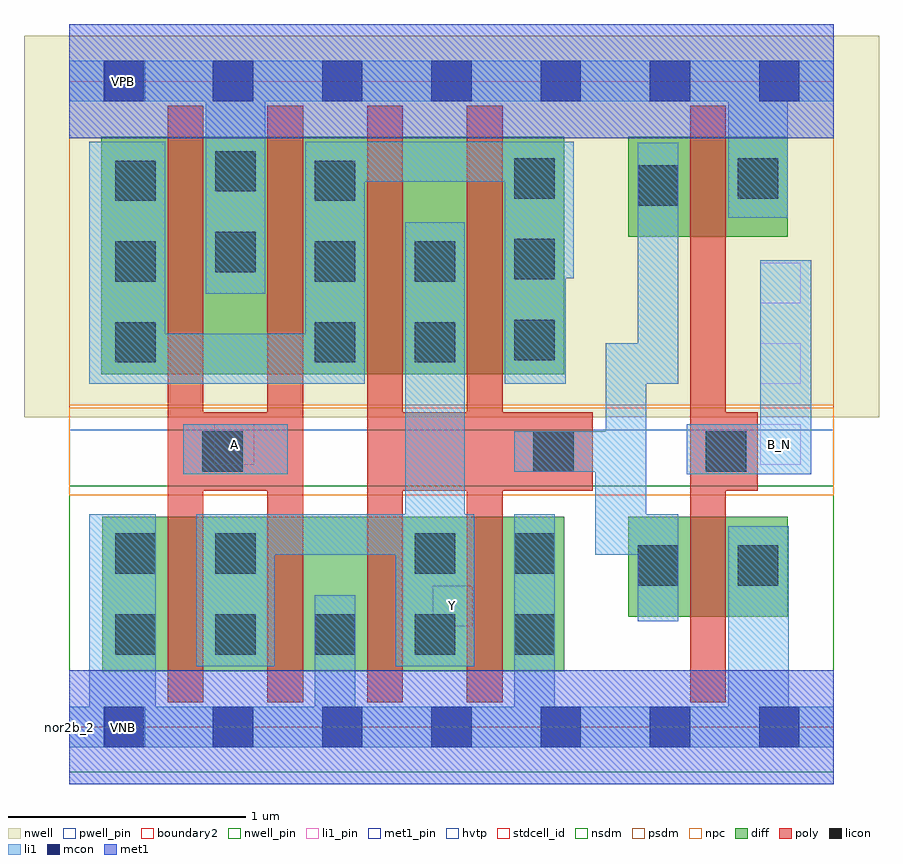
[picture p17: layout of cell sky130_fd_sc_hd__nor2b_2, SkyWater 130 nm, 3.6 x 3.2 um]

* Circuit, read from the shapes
.subckt sky130_fd_sc_hd__nor2b_2 A B_N VGND VNB VPB VPWR Y
XM1 Y A VGND VNB sky130_fd_pr__nfet_01v8 w=0.65 l=0.15 m=2
XM2 Y n1 VGND VNB sky130_fd_pr__nfet_01v8 w=0.65 l=0.15 m=2
XM3 VGND B_N n1 VNB sky130_fd_pr__nfet_01v8 w=0.42 l=0.15
XM4 VPWR A n2 VPB sky130_fd_pr__pfet_01v8_hvt w=1 l=0.15 m=2
XM5 Y n1 n2 VPB sky130_fd_pr__pfet_01v8_hvt w=1 l=0.15 m=2
XM6 VPWR B_N n1 VPB sky130_fd_pr__pfet_01v8_hvt w=0.42 l=0.15
.ends

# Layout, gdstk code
import gdstk
lib = gdstk.Library(unit=1e-6, precision=1e-09)
def R(c, l, rs):  # rectangles x0, y0, x1, y1
    for r in rs: c.add(gdstk.rectangle(r[:2], r[2:], *l))
def A(c, l, x, y, w, h, nx, ny, dx, dy):  # array of equal rectangles
    R(c, l, [(x+i*dx, y+j*dy, x+i*dx+w, y+j*dy+h) for i in range(nx) for j in range(ny)])
def P(c, l, *ps):  # polygons
    for p in ps: c.add(gdstk.Polygon(p, *l))
nwell_pin = (64, 16)
nwell = (64, 20)
diff = (65, 20)
poly = (66, 20)
licon = (66, 44)
li1_pin = (67, 16)
li1 = (67, 20)
mcon = (67, 44)
met1_pin = (68, 16)
met1 = (68, 20)
hvtp = (78, 44)
stdcell_id = (81, 4)
nsdm = (93, 44)
psdm = (94, 20)
npc = (95, 20)
pwell_pin = (122, 16)
boundary2 = (236, 0)

sky130_fd_sc_hd__nor2b_2 = lib.new_cell('sky130_fd_sc_hd__nor2b_2')
R(sky130_fd_sc_hd__nor2b_2, nwell_pin, [(0.15,2.635,0.32,2.805)])
R(sky130_fd_sc_hd__nor2b_2, nwell, [(-0.19,1.305,3.41,2.91)])
R(sky130_fd_sc_hd__nor2b_2, diff, [(0.14,0.235,2.085,0.885), (2.355,0.465,3.025,0.885), (0.135,1.485,2.085,2.485), (2.355,2.065,3.025,2.485)])
P(sky130_fd_sc_hd__nor2b_2, poly, [(2.9,1.325),(2.765,1.325),(2.765,2.615),(2.615,2.615),(2.615,0.105),(2.765,0.105),(2.765,0.995),(2.9,0.995)],
  [(2.205,1.325),(1.825,1.325),(1.825,2.615),(1.675,2.615),(1.675,1.325),(1.405,1.325),(1.405,2.615),(1.255,2.615),(1.255,0.105),(1.405,0.105),(1.405,0.995),(1.675,0.995),(1.675,0.105),(1.825,0.105),(1.825,0.995),(2.205,0.995)],
  [(0.985,2.615),(0.835,2.615),(0.835,1.325),(0.565,1.325),(0.565,2.615),(0.415,2.615),(0.415,0.105),(0.565,0.105),(0.565,0.995),(0.835,0.995),(0.835,0.105),(0.985,0.105)])
A(sky130_fd_sc_hd__nor2b_2, licon, 0.195, 0.305, 0.17, 0.17, 5, 1, 0.42, 0)
A(sky130_fd_sc_hd__nor2b_2, licon, 0.195, 1.535, 0.17, 0.17, 1, 3, 0, 0.34)
A(sky130_fd_sc_hd__nor2b_2, licon, 1.035, 1.535, 0.17, 0.17, 1, 3, 0, 0.34)
A(sky130_fd_sc_hd__nor2b_2, licon, 1.875, 1.545, 0.17, 0.17, 1, 3, 0, 0.34)
R(sky130_fd_sc_hd__nor2b_2, licon, [(2.395,0.595,2.565,0.765), (2.815,0.595,2.985,0.765), (0.195,0.645,0.365,0.815), (0.615,0.645,0.785,0.815), (1.455,0.645,1.625,0.815), (1.875,0.645,2.045,0.815), (0.56,1.075,0.73,1.245), (1.955,1.075,2.125,1.245), (2.68,1.075,2.85,1.245), (1.455,1.535,1.625,1.705), (1.455,1.875,1.625,2.045), (0.615,1.915,0.785,2.085), (2.395,2.195,2.565,2.365), (2.815,2.225,2.985,2.395), (0.615,2.255,0.785,2.425)])
A(sky130_fd_sc_hd__nor2b_2, li1_pin, 2.91, 1.105, 0.17, 0.17, 1, 3, 0, 0.34)
R(sky130_fd_sc_hd__nor2b_2, li1_pin, [(1.53,0.425,1.7,0.595), (0.61,1.105,0.78,1.275)])
R(sky130_fd_sc_hd__nor2b_2, li1, [(0.48,1.065,0.92,1.275)])
P(sky130_fd_sc_hd__nor2b_2, li1, [(2.6,1.065),(2.6,1.275),(2.91,1.275),(2.91,1.965),(3.125,1.965),(3.125,1.065)],
  [(2.565,0.895),(2.43,0.895),(2.43,1.445),(2.565,1.445),(2.565,2.46),(2.395,2.46),(2.395,1.615),(2.26,1.615),(2.26,1.245),(1.875,1.245),(1.875,1.075),(2.215,1.075),(2.215,0.725),(2.395,0.725),(2.395,0.445),(2.565,0.445)],
  [(3.22,2.805),(0,2.805),(0,2.635),(0.575,2.635),(0.575,1.825),(0.825,1.825),(0.825,2.635),(2.775,2.635),(2.775,2.145),(3.025,2.145),(3.025,2.635),(3.22,2.635)],
  [(1.705,0.895),(1.665,0.895),(1.665,2.125),(1.415,2.125),(1.415,0.895),(0.535,0.895),(0.535,0.255),(0.865,0.255),(0.865,0.725),(1.375,0.725),(1.375,0.255),(1.705,0.255)],
  [(3.22,0.085),(3.03,0.085),(3.03,0.845),(2.775,0.845),(2.775,0.085),(2.045,0.085),(2.045,0.895),(1.875,0.895),(1.875,0.085),(1.205,0.085),(1.205,0.555),(1.035,0.555),(1.035,0.085),(0.365,0.085),(0.365,0.895),(0.085,0.895),(0.085,0.085),(0,0.085),(0,-0.085),(3.22,-0.085)],
  [(2.125,2.465),(0.995,2.465),(0.995,1.655),(0.405,1.655),(0.405,2.465),(0.085,2.465),(0.085,1.445),(1.245,1.445),(1.245,2.295),(1.835,2.295),(1.835,1.445),(2.09,1.445),(2.09,1.89),(2.125,1.89)])
A(sky130_fd_sc_hd__nor2b_2, mcon, 0.145, -0.085, 0.17, 0.17, 7, 2, 0.46, 2.72)
R(sky130_fd_sc_hd__nor2b_2, met1_pin, [(0.15,-0.085,0.32,0.085), (0.15,2.635,0.32,2.805)])
R(sky130_fd_sc_hd__nor2b_2, hvtp, [(0,1.25,3.22,2.72)])
R(sky130_fd_sc_hd__nor2b_2, stdcell_id, [(0,0,3.22,2.72)])
R(sky130_fd_sc_hd__nor2b_2, nsdm, [(0,-0.19,3.22,1.015)])
R(sky130_fd_sc_hd__nor2b_2, psdm, [(0,1.355,3.22,2.91)])
R(sky130_fd_sc_hd__nor2b_2, npc, [(0,0.975,3.22,1.345)])
R(sky130_fd_sc_hd__nor2b_2, pwell_pin, [(0.15,-0.085,0.32,0.085)])
R(sky130_fd_sc_hd__nor2b_2, boundary2, [(0,0,3.22,2.72)])
sky130_fd_sc_hd__nor2b_2.add(gdstk.FlexPath([(0,2.72),(3.22,2.72)], 0.48, ends="flush", simple_path=True, layer=68, datatype=20))  # met1
sky130_fd_sc_hd__nor2b_2.add(gdstk.FlexPath([(0,0),(3.22,0)], 0.48, ends="flush", simple_path=True, layer=68, datatype=20))  # met1
sky130_fd_sc_hd__nor2b_2.add(gdstk.Label('B_N', (2.99,1.19), layer=67, texttype=5))
sky130_fd_sc_hd__nor2b_2.add(gdstk.Label('A', (0.695,1.19), layer=67, texttype=5))
sky130_fd_sc_hd__nor2b_2.add(gdstk.Label('Y', (1.615,0.51), layer=67, texttype=5))
sky130_fd_sc_hd__nor2b_2.add(gdstk.Label('VPB', (0.23,2.72), layer=64, texttype=5))
sky130_fd_sc_hd__nor2b_2.add(gdstk.Label('VNB', (0.23,0), layer=64, texttype=59))
sky130_fd_sc_hd__nor2b_2.add(gdstk.Label('VGND', (0.23,0), layer=68, texttype=5))
sky130_fd_sc_hd__nor2b_2.add(gdstk.Label('VPWR', (0.23,2.72), layer=68, texttype=5))
sky130_fd_sc_hd__nor2b_2.add(gdstk.Label('nor2b_2', (0,0), layer=83, texttype=44))

lib.write_gds('sky130_fd_sc_hd__nor2b_2.gds')
